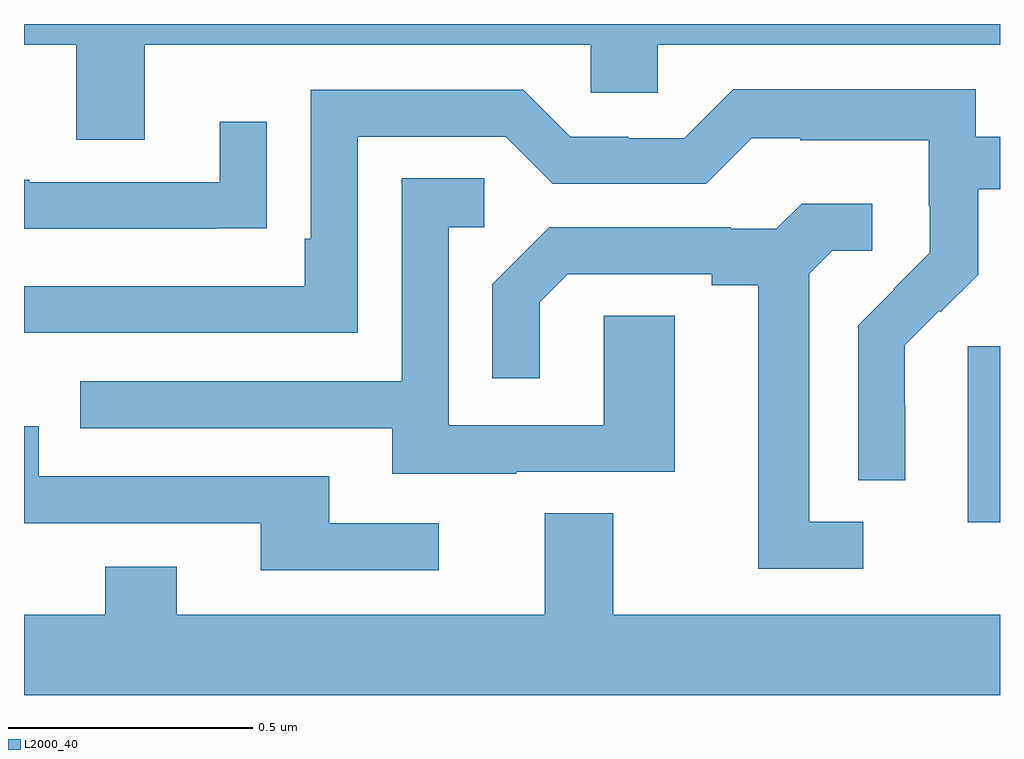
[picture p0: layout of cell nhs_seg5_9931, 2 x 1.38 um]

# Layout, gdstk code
import gdstk
lib = gdstk.Library(unit=1e-6, precision=1e-09)
def R(c, l, rs):  # rectangles x0, y0, x1, y1
    for r in rs: c.add(gdstk.rectangle(r[:2], r[2:], *l))
def P(c, l, *ps):  # polygons
    for p in ps: c.add(gdstk.Polygon(p, *l))
L2000_40 = (2000, 40)

nhs_seg5_9931 = lib.new_cell('nhs_seg5_9931')
R(nhs_seg5_9931, L2000_40, [(241.934,859.778,242,860.139)])
P(nhs_seg5_9931, L2000_40, [(240.247,860.756),(241.161,860.756),(241.161,860.658),(241.299,860.658),(241.299,860.756),(242,860.756),(242,860.799),(240,860.799),(240,860.756),(240.107,860.756),(240.107,860.562),(240.247,860.562)],
  [(241.806,860.018),(241.805,860.018),(241.805,860.141),(241.875,860.211),(241.878,860.208),(241.955,860.285),(241.955,860.46),(242,860.46),(242,860.568),(241.95,860.568),(241.95,860.665),(241.453,860.665),(241.353,860.565),(241.238,860.565),(241.238,860.568),(241.119,860.568),(241.023,860.664),(240.588,860.664),(240.588,860.359),(240.575,860.359),(240.575,860.262),(240,860.262),(240,860.166),(240.684,860.166),(240.684,860.568),(240.987,860.568),(241.083,860.472),(241.398,860.472),(241.491,860.565),(241.591,860.565),(241.591,860.561),(241.854,860.561),(241.854,860.427),(241.856,860.427),(241.856,860.33),(241.782,860.256),(241.783,860.255),(241.71,860.182),(241.71,859.864),(241.806,859.864)],
  [(240.395,860.38),(240.497,860.38),(240.497,860.599),(240.401,860.599),(240.401,860.475),(240.011,860.475),(240.011,860.48),(240,860.48),(240,860.379),(240.395,860.379)],
  [(241.009,859.881),(241.333,859.881),(241.333,860.201),(241.188,860.201),(241.188,859.977),(240.87,859.977),(240.87,860.382),(240.943,860.382),(240.943,860.483),(240.774,860.483),(240.774,860.067),(240.115,860.067),(240.115,859.971),(240.755,859.971),(240.755,859.877),(241.009,859.877)],
  [(241.72,859.779),(241.609,859.779),(241.609,860.287),(241.656,860.334),(241.738,860.334),(241.738,860.431),(241.594,860.431),(241.542,860.379),(241.448,860.379),(241.448,860.382),(241.076,860.382),(240.96,860.266),(240.96,860.073),(241.057,860.073),(241.057,860.229),(241.114,860.286),(241.409,860.286),(241.409,860.264),(241.505,860.264),(241.505,859.683),(241.72,859.683)],
  [(240.85,859.776),(240.625,859.776),(240.625,859.872),(240.03,859.872),(240.03,859.975),(240,859.975),(240,859.776),(240.485,859.776),(240.485,859.68),(240.85,859.68)],
  [(242,859.588),(241.207,859.588),(241.207,859.796),(241.067,859.796),(241.067,859.588),(240.313,859.588),(240.313,859.687),(240.166,859.687),(240.166,859.588),(240,859.588),(240,859.424),(242,859.424)])

lib.write_gds('nhs_seg5_9931.gds')
